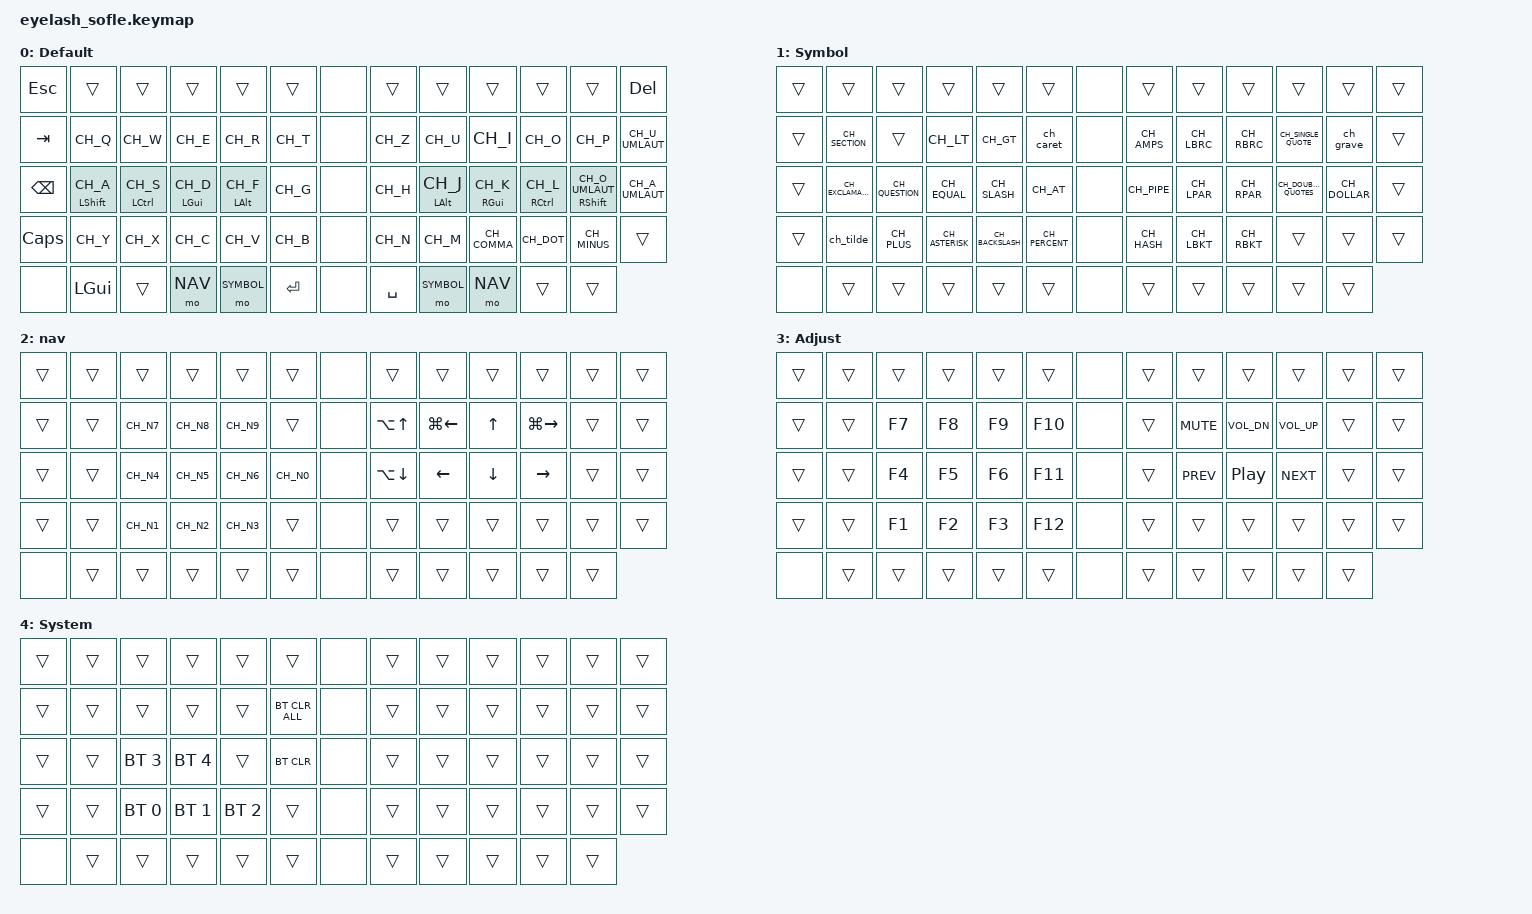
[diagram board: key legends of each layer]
#include <behaviors.dtsi>
#include <dt-bindings/zmk/bt.h>
#include <dt-bindings/zmk/keys.h>
#include <dt-bindings/zmk/outputs.h>
#include <dt-bindings/zmk/rgb.h>
#include <keys_ch_mac.h>

#define BASE 0
#define SYMBOL 1
#define NAV 2
#define ADJUST 3
#define SYSTEM 4

&soft_off { hold-time-ms = <2000>; };

/ {
    // Activate ADJUST layer by pressing nav and symbol
    conditional_layers {
        compatible = "zmk,conditional-layers";
        tri_layer {
            if-layers = <SYMBOL NAV>;
            then-layer = <ADJUST>;
        };
    };

    // Hold SPACE + SYMBOL + NAV together (right thumb cluster) for SYSTEM.
    // The combo swallows all three presses, so ADJUST is not triggered alongside it.
    combos {
        compatible = "zmk,combos";
        combo_system {
            bindings = <&mo SYSTEM>;
            key-positions = <59 60 61>;
            layers = <BASE>;
            timeout-ms = <100>;
            require-prior-idle-ms = <150>;
        };
    };

    behaviors {
        hml: home_row_mod_left {
            compatible = "zmk,behavior-hold-tap";
            #binding-cells = <2>;
            flavor = "balanced";
            require-prior-idle-ms = <150>;
            tapping-term-ms = <280>;
            quick-tap-ms = <175>;
            bindings = <&kp>, <&kp>;
            hold-trigger-key-positions = <
                 7  8  9 10 11 12
                20 21 22 23 24 25
                33 34 35 36 37 38
                46 47 48 49 50 51
                59 60 61 62 63
            >; // All keys on the right side of the keyboard
            hold-trigger-on-release;
        };
        hmr: home_row_mod_right {
            compatible = "zmk,behavior-hold-tap";
            #binding-cells = <2>;
            flavor = "balanced";
            require-prior-idle-ms = <150>;
            tapping-term-ms = <280>;
            quick-tap-ms = <175>;
            bindings = <&kp>, <&kp>;
            hold-trigger-key-positions = <
                 0  1  2  3  4  5
                13 14 15 16 17 18
                26 27 28 29 30 31
                39 40 41 42 43 44
                52 53 54 55 56 57
            >; // All keys on the left side of the keyboard
            hold-trigger-on-release;
        };
    };

    macros {
        // `, ~ and ^ are dead keys on macOS Swiss German, so a lone tap composes
        // with the next keystroke. Tapping the dead key then SPACE emits the
        // literal standalone character.
        ch_tilde: ch_tilde {
            compatible = "zmk,behavior-macro";
            #binding-cells = <0>;
            bindings = <&kp CH_TILDE &kp SPACE>;
        };
        ch_caret: ch_caret {
            compatible = "zmk,behavior-macro";
            #binding-cells = <0>;
            bindings = <&kp CH_CARET &kp SPACE>;
        };
        ch_grave: ch_grave {
            compatible = "zmk,behavior-macro";
            #binding-cells = <0>;
            bindings = <&kp CH_GRAVE &kp SPACE>;
        };
    };

    keymap {
        compatible = "zmk,keymap";

        default_layer {
            display-name = "Default";

// Layout without joystick (middle row) and rotary encoder (bottom left)
// -------------------------------------------------------------------------------------------
// |  ESC  |     |     |     |        |       | N/A |       |        |     |     |     | DEL |
// |  TAB  |  Q  |  W  |  E  |   R    |   T   | N/A |   Z   |   U    |  I  |  O  |  P  |  Ü  |
// | BKSPC |  A  |  S  |  D  |   F    |   G   | N/A |   H   |   J    |  K  |  L  |  Ö  |  Ä  |
// | CAPS  |  Y  |  X  |  C  |   V    |   B   | N/A |   N   |   M    |  ,  |  .  |  -  |     |
// |  N/A  | GUI |     | NAV | SYMBOL | ENTER | N/A | SPACE | SYMBOL | NAV |     |     |

            bindings = <
&kp ESC     &trans          &trans              &trans         &trans           &trans     &none  &trans       &trans          &trans         &trans            &trans                &kp DEL
&kp TAB     &kp CH_Q        &kp CH_W            &kp CH_E       &kp CH_R         &kp CH_T   &none  &kp CH_Z     &kp CH_U        &kp CH_I       &kp CH_O          &kp CH_P              &kp CH_U_UMLAUT
&kp BSPC    &hml LSHFT CH_A &hml  LCTRL CH_S    &hml LGUI CH_D &hml LALT CH_F   &kp CH_G   &none  &kp CH_H    &hmr LALT CH_J   &hmr RGUI CH_K &hmr RCTRL CH_L   &hmr RSHFT CH_O_UMLAUT &kp CH_A_UMLAUT
&kp CAPS    &kp CH_Y        &kp CH_X            &kp CH_C       &kp CH_V         &kp CH_B   &none  &kp CH_N     &kp CH_M        &kp CH_COMMA   &kp CH_DOT        &kp CH_MINUS          &trans
&none       &kp LGUI        &trans              &mo NAV        &mo SYMBOL       &kp RET    &none  &kp SPACE    &mo SYMBOL      &mo NAV        &trans            &trans
            >;
        };

        symbol_layer {
            display-name = "Symbol";
            
// -------------------------------------------------------------------------------
// |     |     |     |     |     |     | N/A |     |     |     |     |     |     |
// |     |  §  |     |  <  |  >  |  ^  | N/A |  &  |  {  |  }  |  '  |  `  |     |
// |     |  !  |  ?  |  =  |  /  |  @  | N/A |  |  |  (  |  )  |  "  |  $  |     |
// |     |  ~  |  +  |  *  |  \  |  %  | N/A |  #  |  [  |  ]  |     |     |     |
// | N/A |     |     |     |     |     | N/A |     |     |     |     |     |
            bindings = <
&trans  &trans              &trans           &trans           &trans            &trans          &none  &trans        &trans       &trans       &trans                &trans  &trans
&trans  &kp CH_SECTION      &trans           &kp CH_LT        &kp CH_GT         &ch_caret       &none  &kp CH_AMPS  &kp CH_LBRC  &kp CH_RBRC  &kp CH_SINGLE_QUOTE   &ch_grave      &trans
&trans  &kp CH_EXCLAMATION  &kp CH_QUESTION  &kp CH_EQUAL     &kp CH_SLASH      &kp CH_AT       &none  &kp CH_PIPE  &kp CH_LPAR  &kp CH_RPAR  &kp CH_DOUBLE_QUOTES  &kp CH_DOLLAR  &trans
&trans  &ch_tilde           &kp CH_PLUS      &kp CH_ASTERISK  &kp CH_BACKSLASH  &kp CH_PERCENT  &none  &kp CH_HASH  &kp CH_LBKT  &kp CH_RBKT  &trans                &trans         &trans
&none   &trans              &trans           &trans           &trans            &trans          &none  &trans        &trans       &trans       &trans                &trans
            >;
        };

        nav_layer {
            display-name = "nav";
// -------------------------------------------------------------------------------
// |     |     |     |     |     |     | N/A |     |     |     |     |     |     |
// |     |     |  7  |  8  |  9  |     | N/A | ⌥↑  | ⌘←  |  ↑  | ⌘→  |     |     |
// |     |     |  4  |  5  |  6  |  0  | N/A | ⌥↓  |  ←  |  ↓  |  →  |     |     |
// |     |     |  1  |  2  |  3  |     | N/A |     |     |     |     |     |     |
// | N/A |     |     |     |     |     | N/A |     |     |     |     |     |
            bindings = <
&trans  &trans  &trans  &trans  &trans  &trans  &none  &trans  &trans  &trans  &trans  &trans  &trans
&trans        &trans &kp CH_N7  &kp CH_N8   &kp CH_N9   &trans  &none  &kp LA(UP)    &kp LG(LEFT)   &kp UP    &kp LG(RIGHT)  &trans  &trans
&trans        &trans &kp CH_N4  &kp CH_N5   &kp CH_N6   &kp CH_N0  &none  &kp LA(DOWN)  &kp LEFT       &kp DOWN  &kp RIGHT      &trans  &trans
&trans        &trans &kp CH_N1  &kp CH_N2   &kp CH_N3   &trans  &none  &trans     &trans    &trans    &trans     &trans   &trans
&none      &trans    &trans     &trans     &trans  &trans  &none  &trans     &trans    &trans     &trans     &trans
            >;
        };
          
        adjust_layer {
            display-name = "Adjust";
// ------------------------------------------------------------------------------------
// |     |     |     |     |     |     | N/A |     |      |       |       |     |     |
// |     |     | F7  | F8  | F9  | F10 | N/A |     | MUTE | VOL - | VOL + |     |     |
// |     |     | F4  | F5  | F6  | F11 | N/A |     | prev | pause | next  |     |     |
// |     |     | F1  | F2  | F3  | F12 | N/A |     |      |       |       |     |     |
// |     |     |     |     |     |     | N/A |     |      |       |       |     |
            bindings = <
&trans  &trans  &trans  &trans  &trans  &trans   &none  &trans  &trans      &trans        &trans        &trans  &trans
&trans  &trans  &kp F7  &kp F8  &kp F9  &kp F10  &none  &trans  &kp C_MUTE  &kp C_VOL_DN  &kp C_VOL_UP  &trans  &trans
&trans  &trans  &kp F4  &kp F5  &kp F6  &kp F11  &none  &trans  &kp C_PREV  &kp C_PP      &kp C_NEXT    &trans  &trans
&trans  &trans  &kp F1  &kp F2  &kp F3  &kp F12  &none  &trans  &trans      &trans        &trans        &trans  &trans
&none   &trans  &trans  &trans  &trans  &trans   &none  &trans  &trans      &trans        &trans        &trans
            >;
        };
          
        systen_layer {
            display-name = "System";
// --------------------------------------------------------------------------------------
// |     |     |     |     |     |            | N/A |     |     |     |     |     |     |
// |     |     |     |     |     | BT_CLR_ALL | N/A |     |     |     |     |     |     |
// |     |     | BT4 | BT5 |     |   BTCLR    | N/A |     |     |     |     |     |     |
// |     |     | BT1 | BT2 | BT3 |            | N/A |     |     |     |     |     |     |
// | N/A |     |     |     |     |            | N/A |     |     |     |     |     |
            bindings = <
&trans  &trans  &trans        &trans        &trans        &trans          &none  &trans  &trans  &trans  &trans  &trans  &trans
&trans  &trans  &trans        &trans        &trans        &bt BT_CLR_ALL  &none  &trans  &trans  &trans  &trans  &trans  &trans
&trans  &trans  &bt BT_SEL 3  &bt BT_SEL 4  &trans        &bt BT_CLR      &none  &trans  &trans  &trans  &trans  &trans  &trans
&trans  &trans  &bt BT_SEL 0  &bt BT_SEL 1  &bt BT_SEL 2  &trans          &none  &trans  &trans  &trans  &trans  &trans  &trans
&none   &trans  &trans        &trans        &trans        &trans          &none  &trans  &trans  &trans  &trans  &trans
            >;
        };
    };
};
